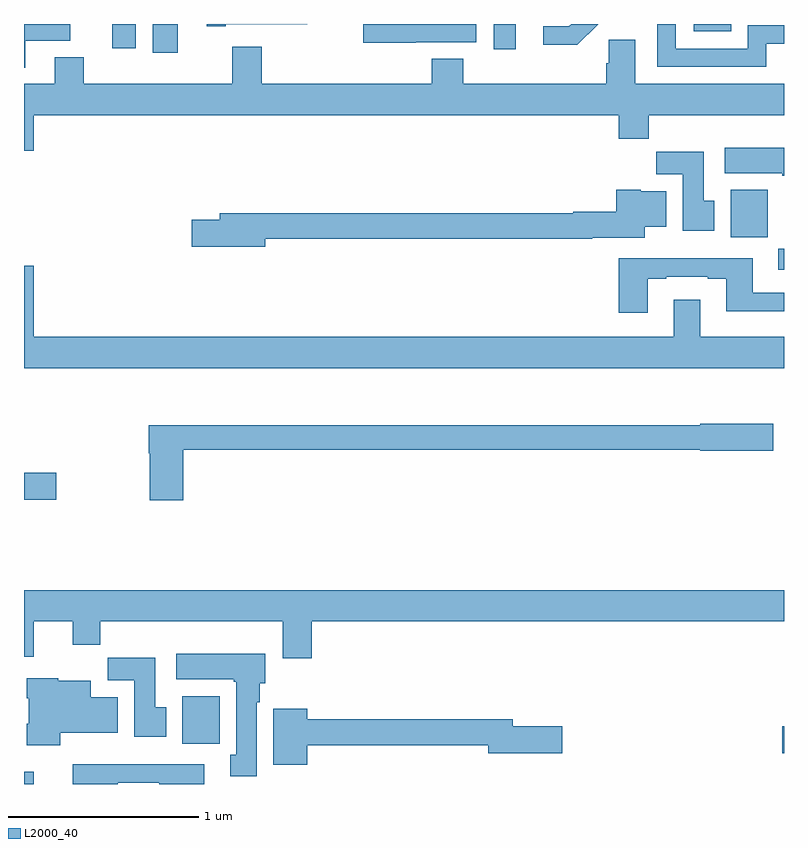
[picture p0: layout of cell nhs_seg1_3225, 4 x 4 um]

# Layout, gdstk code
import gdstk
lib = gdstk.Library(unit=1e-6, precision=1e-09)
def R(c, l, rs):  # rectangles x0, y0, x1, y1
    for r in rs: c.add(gdstk.rectangle(r[:2], r[2:], *l))
def P(c, l, *ps):  # polygons
    for p in ps: c.add(gdstk.Polygon(p, *l))
L2000_40 = (2000, 40)

nhs_seg1_3225 = lib.new_cell('nhs_seg1_3225')
R(nhs_seg1_3225, L2000_40, [(285,560.199,285.052,560.263), (288.99,560.362,289,560.504), (285.833,560.412,286.029,560.662), (285,561.694,285.169,561.836), (288.971,562.905,289,563.017), (288.719,563.076,288.915,563.326), (285.677,564.048,285.808,564.199), (287.472,564.066,287.587,564.199), (285.464,564.072,285.589,564.199), (288.525,564.161,288.723,564.199)])
P(nhs_seg1_3225, L2000_40, [(288.022,564.199),(287.88,564.199),(287.867,564.186),(287.733,564.186),(287.733,564.089),(287.911,564.089)],
  [(285.007,564.11),(285.243,564.11),(285.243,564.199),(285,564.199),(285,563.97),(285.007,563.97)],
  [(288.907,564.096),(289,564.096),(289,564.192),(288.81,564.192),(288.81,564.069),(288.429,564.069),(288.429,564.199),(288.333,564.199),(288.333,563.973),(288.907,563.973)],
  [(286.063,564.198),(286.492,564.198),(286.492,564.199),(285.963,564.199),(285.963,564.186),(286.063,564.186)],
  [(287.063,564.102),(287.379,564.102),(287.379,564.199),(287.283,564.199),(287.283,564.198),(286.887,564.198),(286.887,564.199),(286.786,564.199),(286.786,564.101),(287.063,564.101)],
  [(285.052,563.72),(288.131,563.72),(288.131,563.596),(288.287,563.596),(288.287,563.72),(289,563.72),(289,563.884),(288.217,563.884),(288.217,564.116),(288.078,564.116),(288.078,563.993),(288.065,563.993),(288.065,563.884),(287.312,563.884),(287.312,564.017),(287.147,564.017),(287.147,563.884),(286.25,563.884),(286.25,564.079),(286.097,564.079),(286.097,563.884),(285.314,563.884),(285.314,564.025),(285.161,564.025),(285.161,563.884),(285,563.884),(285,563.532),(285.052,563.532)],
  [(289,563.548),(288.687,563.548),(288.687,563.414),(288.991,563.414),(288.991,563.401),(289,563.401)],
  [(288.634,563.268),(288.577,563.268),(288.577,563.527),(288.328,563.527),(288.328,563.408),(288.467,563.408),(288.467,563.112),(288.634,563.112)],
  [(286.27,563.068),(287.992,563.068),(287.992,563.075),(288.268,563.075),(288.268,563.132),(288.379,563.132),(288.379,563.32),(288.246,563.32),(288.246,563.326),(288.116,563.326),(288.116,563.212),(287.892,563.212),(287.892,563.204),(286.031,563.204),(286.031,563.168),(285.882,563.168),(285.882,563.026),(286.27,563.026)],
  [(288.283,562.857),(288.379,562.857),(288.379,562.869),(288.599,562.869),(288.599,562.857),(288.695,562.857),(288.695,562.688),(289,562.688),(289,562.785),(288.835,562.785),(288.835,562.966),(288.131,562.966),(288.131,562.68),(288.283,562.68)],
  [(289,562.552),(288.559,562.552),(288.559,562.747),(288.419,562.747),(288.419,562.552),(285.052,562.552),(285.052,562.927),(285,562.927),(285,562.388),(289,562.388)],
  [(285.839,561.958),(288.558,561.958),(288.558,561.953),(288.943,561.953),(288.943,562.095),(288.558,562.095),(288.558,562.087),(285.656,562.087),(285.656,561.941),(285.661,561.941),(285.661,561.693),(285.839,561.693)],
  [(285,560.868),(285.052,560.868),(285.052,561.056),(285.257,561.056),(285.257,560.932),(285.401,560.932),(285.401,561.056),(286.361,561.056),(286.361,560.862),(286.514,560.862),(286.514,561.056),(289,561.056),(289,561.22),(285,561.22)],
  [(286.225,560.63),(286.24,560.63),(286.24,560.73),(286.27,560.73),(286.27,560.884),(285.801,560.884),(285.801,560.75),(286.105,560.75),(286.105,560.737),(286.118,560.737),(286.118,560.353),(286.085,560.353),(286.085,560.241),(286.225,560.241)],
  [(285.748,560.604),(285.691,560.604),(285.691,560.863),(285.442,560.863),(285.442,560.744),(285.581,560.744),(285.581,560.448),(285.748,560.448)],
  [(285.192,560.468),(285.493,560.468),(285.493,560.656),(285.352,560.656),(285.352,560.743),(285.18,560.743),(285.18,560.755),(285.014,560.755),(285.014,560.651),(285.026,560.651),(285.026,560.515),(285.014,560.515),(285.014,560.403),(285.192,560.403)],
  [(286.492,560.404),(287.444,560.404),(287.444,560.362),(287.833,560.362),(287.833,560.504),(287.572,560.504),(287.572,560.54),(286.492,560.54),(286.492,560.596),(286.313,560.596),(286.313,560.3),(286.492,560.3)],
  [(285.493,560.205),(285.713,560.205),(285.713,560.199),(285.949,560.199),(285.949,560.302),(285.257,560.302),(285.257,560.199),(285.493,560.199)])

lib.write_gds('nhs_seg1_3225.gds')
